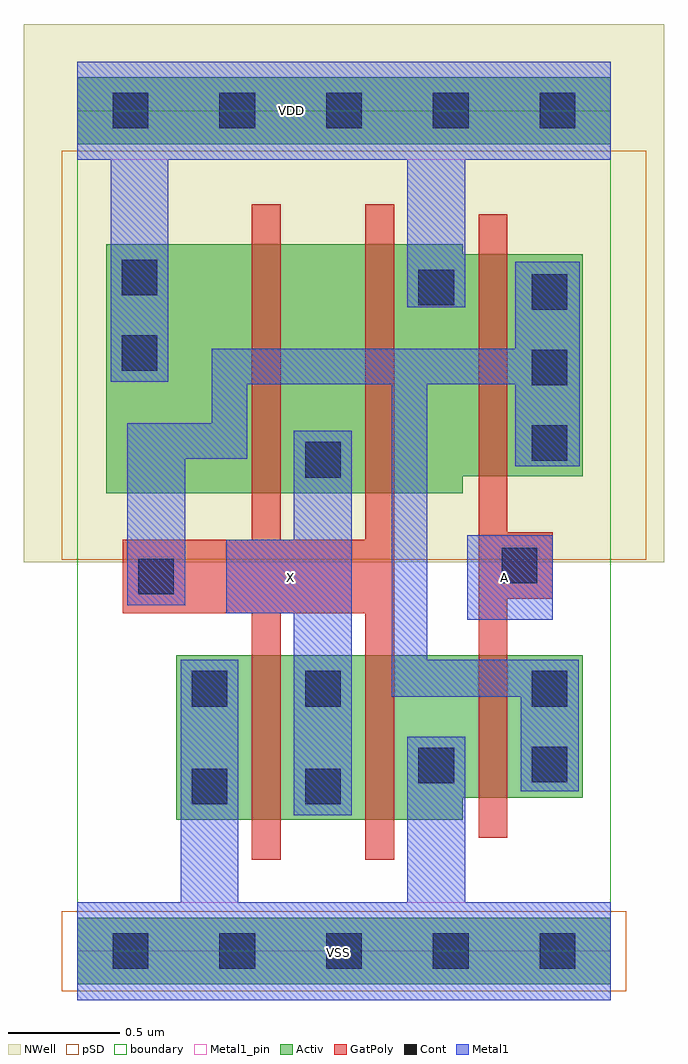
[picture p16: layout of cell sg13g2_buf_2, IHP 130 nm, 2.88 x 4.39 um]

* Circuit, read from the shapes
.subckt sg13g2_buf_2 A VDD VSS X
XM1 X n1 VSS VSS sg13_lv_nmos w=0.74u l=0.13u m=2
XM2 n1 A VSS VSS sg13_lv_nmos w=0.64u l=0.13u
XM3 X n1 VDD VDD sg13_lv_pmos w=1.12u l=0.13u m=2
XM4 n1 A VDD VDD sg13_lv_pmos w=1u l=0.13u
.ends

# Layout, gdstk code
import gdstk
lib = gdstk.Library(unit=1e-6, precision=1e-09)
def R(c, l, rs):  # rectangles x0, y0, x1, y1
    for r in rs: c.add(gdstk.rectangle(r[:2], r[2:], *l))
def A(c, l, x, y, w, h, nx, ny, dx, dy):  # array of equal rectangles
    R(c, l, [(x+i*dx, y+j*dy, x+i*dx+w, y+j*dy+h) for i in range(nx) for j in range(ny)])
def P(c, l, *ps):  # polygons
    for p in ps: c.add(gdstk.Polygon(p, *l))
Activ = (1, 0)
GatPoly = (5, 0)
Cont = (6, 0)
Metal1 = (8, 0)
Metal1_pin = (8, 2)
pSD = (14, 0)
NWell = (31, 0)
boundary = (189, 4)

sg13g2_buf_2 = lib.new_cell('sg13g2_buf_2')
R(sg13g2_buf_2, Activ, [(0,-0.15,2.4,0.15), (0,3.63,2.4,3.93)])
P(sg13g2_buf_2, Activ, [(0.13,2.06),(0.13,3.18),(1.735,3.18),(1.735,3.135),(2.275,3.135),(2.275,2.135),(1.735,2.135),(1.735,2.06)],
  [(0.445,0.59),(0.445,1.33),(2.275,1.33),(2.275,0.69),(1.735,0.69),(1.735,0.59)])
P(sg13g2_buf_2, GatPoly, [(1.805,0.51),(1.805,3.315),(1.935,3.315),(1.935,1.885),(2.14,1.885),(2.14,1.585),(1.935,1.585),(1.935,0.51)],
  [(0.785,0.41),(0.785,1.52),(0.205,1.52),(0.205,1.85),(0.785,1.85),(0.785,3.36),(0.915,3.36),(0.915,1.85),(1.295,1.85),(1.295,3.36),(1.425,3.36),(1.425,0.41),(1.295,0.41),(1.295,1.52),(0.915,1.52),(0.915,0.41)])
A(sg13g2_buf_2, Cont, 0.16, -0.08, 0.16, 0.16, 5, 2, 0.48, 3.78)
A(sg13g2_buf_2, Cont, 2.045, 2.205, 0.16, 0.16, 1, 3, 0, 0.34)
R(sg13g2_buf_2, Cont, [(0.515,0.66,0.675,0.82), (1.025,0.66,1.185,0.82), (1.535,0.755,1.695,0.915), (2.045,0.76,2.205,0.92), (0.515,1.1,0.675,1.26), (1.025,1.1,1.185,1.26), (2.045,1.1,2.205,1.26), (0.275,1.605,0.435,1.765), (1.91,1.655,2.07,1.815), (1.025,2.13,1.185,2.29), (0.2,2.61,0.36,2.77), (1.535,2.905,1.695,3.065), (0.2,2.95,0.36,3.11)])
R(sg13g2_buf_2, Metal1, [(1.755,1.49,2.14,1.87)])
P(sg13g2_buf_2, Metal1, [(1.995,0.72),(1.995,1.145),(1.415,1.145),(1.415,2.55),(0.765,2.55),(0.765,2.215),(0.485,2.215),(0.485,1.555),(0.225,1.555),(0.225,2.375),(0.605,2.375),(0.605,2.71),(1.97,2.71),(1.97,3.1),(2.26,3.1),(2.26,2.18),(1.97,2.18),(1.97,2.55),(1.575,2.55),(1.575,1.31),(2.255,1.31),(2.255,0.72)],
  [(0.15,2.56),(0.15,3.56),(0,3.56),(0,4),(2.4,4),(2.4,3.56),(1.745,3.56),(1.745,2.895),(1.485,2.895),(1.485,3.56),(0.41,3.56),(0.41,2.56)],
  [(0.975,0.61),(0.975,1.52),(0.67,1.52),(0.67,1.85),(0.975,1.85),(0.975,2.34),(1.235,2.34),(1.235,0.61)],
  [(0,-0.22),(0,0.22),(0.465,0.22),(0.465,1.31),(0.725,1.31),(0.725,0.22),(1.485,0.22),(1.485,0.965),(1.745,0.965),(1.745,0.22),(2.4,0.22),(2.4,-0.22)])
R(sg13g2_buf_2, Metal1_pin, [(0,-0.22,2.4,0.22), (1.755,1.49,2.14,1.87), (0.67,1.52,1.235,1.85), (0,3.56,2.4,4)])
R(sg13g2_buf_2, pSD, [(-0.07,-0.18,2.47,0.18), (-0.07,1.76,2.56,3.6)])
R(sg13g2_buf_2, NWell, [(-0.24,1.75,2.64,4.17)])
R(sg13g2_buf_2, boundary, [(0,0,2.4,3.78)])
sg13g2_buf_2.add(gdstk.Label('VSS', (1.175,-0.005), layer=8, texttype=25))
sg13g2_buf_2.add(gdstk.Label('VDD', (0.965,3.78), layer=8, texttype=25))
sg13g2_buf_2.add(gdstk.Label('X', (0.96,1.68), layer=8, texttype=25))
sg13g2_buf_2.add(gdstk.Label('A', (1.92,1.68), layer=8, texttype=25))

lib.write_gds('sg13g2_buf_2.gds')
